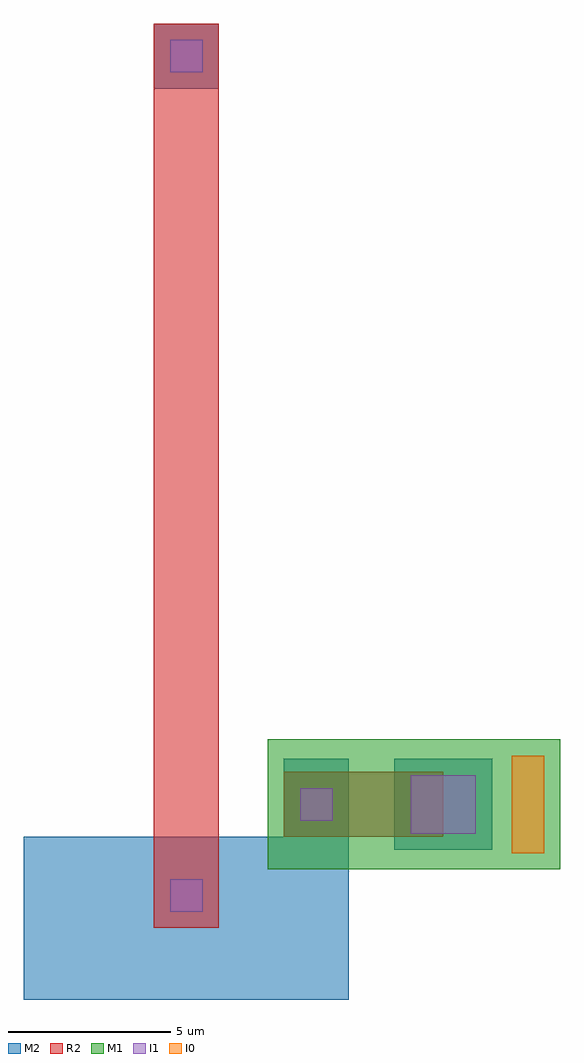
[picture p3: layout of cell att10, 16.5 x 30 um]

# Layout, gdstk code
from math import pi, radians
import gdstk
lib = gdstk.Library(unit=1e-6, precision=1e-09)
def R(c, l, rs):  # rectangles x0, y0, x1, y1
    for r in rs: c.add(gdstk.rectangle(r[:2], r[2:], *l))
M1 = (1, 0)
I1 = (3, 0)
M2 = (6, 0)
R2 = (9, 0)
I0 = (31, 0)

ak_qc4vm2r2 = lib.new_cell('ak_qc4vm2r2')
R(ak_qc4vm2r2, I1, [(-0.5,-0.5,0.5,0.5)])
R(ak_qc4vm2r2, M2, [(-1,-1,1,1)])
R(ak_qc4vm2r2, R2, [(-1,-1,1,1)])

ak_qc4p1r250 = lib.new_cell('ak_qc4p1r250')
R(ak_qc4p1r250, I1, [(-0.9,-5.9,0.9,-3.9), (-0.5,-1.5,0.5,-0.5)])
R(ak_qc4p1r250, M2, [(-1.4,-6.4,1.4,-3.4), (-1.4,-2,1.4,0)])
R(ak_qc4p1r250, R2, [(-1,-4.9,1,0)])

att10 = lib.new_cell('att10')
R(att10, M1, [(2.5,-26,10,-22), (10,-26,11.5,-22)])
R(att10, M2, [(-5,-30,5,-25)])
R(att10, I0, [(10,-25.5,11,-22.5)])
att10.add(gdstk.FlexPath([(0,-2),(0,0)], 2, ends="flush", simple_path=True, layer=9, datatype=0))  # R2
att10.add(gdstk.FlexPath([(0,-2),(0,-25.8)], 2, ends="flush", simple_path=True, layer=9, datatype=0))  # R2
att10.add(gdstk.Reference(ak_qc4vm2r2, (0,-26.8)))
att10.add(gdstk.Reference(ak_qc4vm2r2, (0,-1)))
att10.add(gdstk.Reference(ak_qc4p1r250, (3,-24), rotation=pi/2))

lib.write_gds('att10.gds')
